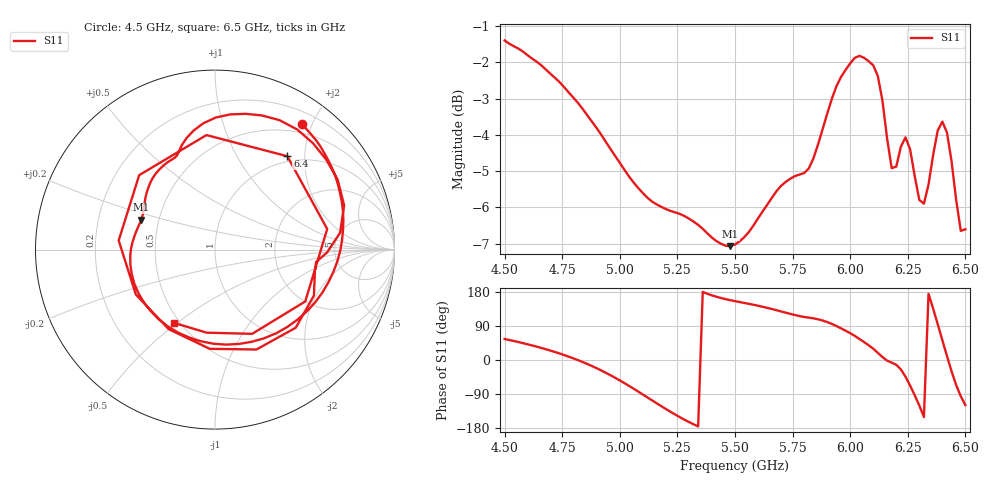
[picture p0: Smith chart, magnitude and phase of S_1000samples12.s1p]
! TOUCHSTONE file generated by CST MICROWAVE STUDIO
! Date and time: Wed Oct 26 16:47:56 2022
! Project name: L.cst
! Parameters = {Di=1.27; Epsilon_r=1.56; InnerDiameter=1.27; Length=2; Lf=10; Lg=60; OuterConductorThickness=0.2921; OuterDiameter=3.6; Wf=3; Wp=41.2; de=1.5; df=6.8; g=0.8; gx=2.71189; gy=0.930275; h=2.34; hf=1.524; px=11.7915; py=12.5598; w=9.7; wx=9.07957; wy=11.6295}
! Header version: 2018
! Port assignment regex: !\s*Touchstone port\s*([0-9]+)\s*=\s*(CST MWS port|CST DS port)\s*([0-9]+|Zmin|Zmax)\s*\(\"(.*)\"\)(\s*mode\s*([0-9]+))?.*
! Touchstone port assignment:
! Touchstone port 1 = CST MWS port 1 ("")
# GHz S DB R 50
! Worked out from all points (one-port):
!   101 points, 4.5 GHz to 6.5 GHz, reference 50 ohm
!   lowest |S11| = -7.1 dB at 5.48 GHz (marker M1), VSWR 2.59, Z = 19.9 + j8.3 ohm
!   |S11| at or under -10 dB: nowhere
!   S11 on the Smith chart (normalised r, x): 4.5 GHz: 0.36, +1.85; 6.4 GHz: 0.90, +1.66; 6.5 GHz: 0.47, -0.49
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4.5  -1.40 55.4
4.76  -2.70 12.7
4.88  -3.64 -16.2
5  -4.77 -53.9
5.12  -5.74 -98.8
5.26  -6.18 -150.6
5.38  -6.72 174.8
5.48  -7.07 157.8
5.5  -7.03 155.4
5.76  -5.14 118.7
5.9  -3.42 100.1
6  -2.03 70.7
6.06  -1.87 47.4
6.12  -2.38 18.9
6.18  -4.92 -6.9
6.22  -4.33 -24.9
6.24  -4.07 -44.0
6.26  -4.40 -67.5
6.3  -5.80 -120.1
6.32  -5.90 -150.4
6.34  -5.37 174.6
6.36  -4.55 135.5
6.38  -3.88 94.3
6.4  -3.64 52.2
6.42  -3.94 10.4
6.44  -4.73 -29.9
6.46  -5.80 -66.2
6.5  -6.61 -119.1
